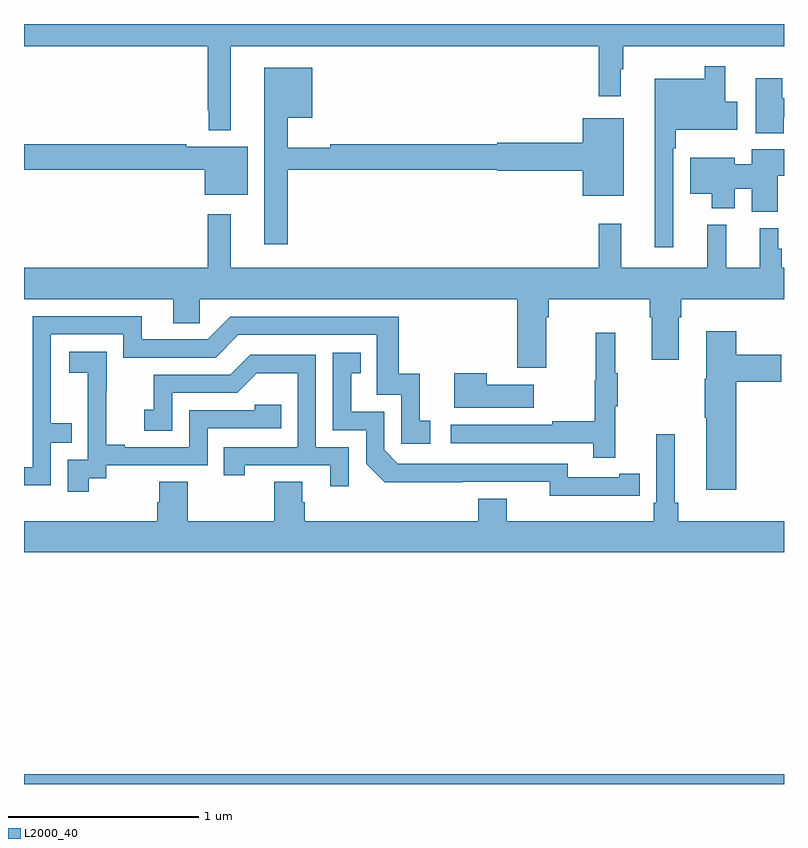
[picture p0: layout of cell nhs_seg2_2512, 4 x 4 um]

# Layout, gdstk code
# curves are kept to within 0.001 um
import gdstk
lib = gdstk.Library(unit=1e-6, precision=1e-09)
def R(c, l, rs):  # rectangles x0, y0, x1, y1
    for r in rs: c.add(gdstk.rectangle(r[:2], r[2:], *l))
def P(c, l, *ps):  # polygons
    for p in ps: c.add(gdstk.Polygon(p, *l))
L2000_40 = (2000, 40)

nhs_seg2_2512 = lib.new_cell('nhs_seg2_2512')
R(nhs_seg2_2512, L2000_40, [(243,595.8,247,595.852)])
P(nhs_seg2_2512, L2000_40, [(244.087,599.684),(246.025,599.684),(246.025,599.421),(246.142,599.421),(246.142,599.561),(246.154,599.561),(246.154,599.684),(247,599.684),(247,599.8),(243,599.8),(243,599.684),(243.966,599.684),(243.966,599.347),(243.972,599.347),(243.972,599.24),(244.087,599.24)],
  [(246.417,599.147),(246.43,599.147),(246.43,599.243),(246.754,599.243),(246.754,599.391),(246.691,599.391),(246.691,599.578),(246.582,599.578),(246.582,599.512),(246.32,599.512),(246.32,598.626),(246.417,598.626)],
  [(244.387,599.032),(245.49,599.032),(245.49,599.027),(245.942,599.027),(245.942,598.895),(246.157,598.895),(246.157,599.305),(245.942,599.305),(245.942,599.174),(245.49,599.174),(245.49,599.168),(244.612,599.168),(244.612,599.149),(244.387,599.149),(244.387,599.306),(244.516,599.306),(244.516,599.569),(244.265,599.569),(244.265,598.641),(244.387,598.641)],
  [(246.999,599.31),(247,599.31),(247,599.409),(246.991,599.409),(246.991,599.515),(246.851,599.515),(246.851,599.225),(246.999,599.225)],
  [(244.177,599.155),(243.854,599.155),(243.854,599.168),(243,599.168),(243,599.032),(243.95,599.032),(243.95,598.901),(244.177,598.901)],
  [(246.967,599.002),(247,599.002),(247,599.14),(246.83,599.14),(246.83,599.062),(246.742,599.062),(246.742,599.095),(246.506,599.095),(246.506,598.907),(246.62,598.907),(246.62,598.829),(246.742,598.829),(246.742,598.933),(246.83,598.933),(246.83,598.811),(246.967,598.811)],
  [(245.749,598.256),(245.762,598.256),(245.762,598.352),(246.293,598.352),(246.293,598.256),(246.305,598.256),(246.305,598.032),(246.445,598.032),(246.445,598.256),(246.458,598.256),(246.458,598.352),(247,598.352),(247,598.516),(246.989,598.516),(246.989,598.617),(246.969,598.617),(246.969,598.726),(246.872,598.726),(246.872,598.516),(246.695,598.516),(246.695,598.744),(246.596,598.744),(246.596,598.516),(246.143,598.516),(246.143,598.75),(246.025,598.75),(246.025,598.516),(244.087,598.516),(244.087,598.798),(243.966,598.798),(243.966,598.516),(243,598.516),(243,598.352),(243.785,598.352),(243.785,598.225),(243.924,598.225),(243.924,598.352),(245.597,598.352),(245.597,597.99),(245.749,597.99)],
  [(243.141,597.597),(243.251,597.597),(243.251,597.698),(243.141,597.698),(243.141,598.167),(243.522,598.167),(243.522,598.044),(244.008,598.044),(244.128,598.164),(244.857,598.164),(244.857,597.849),(244.986,597.849),(244.986,597.591),(245.137,597.591),(245.137,597.711),(245.084,597.711),(245.084,597.958),(244.973,597.958),(244.973,598.26),(244.086,598.26),(243.966,598.14),(243.619,598.14),(243.619,598.263),(243.045,598.263),(243.045,597.468),(243,597.468),(243,597.372),(243.141,597.372)],
  [(246.749,597.917),(246.985,597.917),(246.985,598.059),(246.749,598.059),(246.749,598.183),(246.59,598.183),(246.59,597.933),(246.583,597.933),(246.583,597.727),(246.59,597.727),(246.59,597.348),(246.749,597.348)],
  [(246.113,597.787),(246.124,597.787),(246.124,597.961),(246.113,597.961),(246.113,598.174),(246.01,598.174),(246.01,597.924),(246.003,597.924),(246.003,597.71),(245.779,597.71),(245.779,597.69),(245.247,597.69),(245.247,597.594),(245.995,597.594),(245.995,597.516),(246.113,597.516)],
  [(243.34,597.409),(243.432,597.409),(243.432,597.477),(243.966,597.477),(243.966,597.672),(244.355,597.672),(244.355,597.795),(244.215,597.795),(244.215,597.768),(243.87,597.768),(243.87,597.573),(243.529,597.573),(243.529,597.586),(243.434,597.586),(243.434,597.869),(243.435,597.869),(243.435,598.075),(243.237,598.075),(243.237,597.965),(243.335,597.965),(243.335,597.737),(243.336,597.737),(243.336,597.507),(243.231,597.507),(243.231,597.339),(243.34,597.339)],
  [(246.134,597.318),(246.242,597.318),(246.242,597.434),(246.134,597.434),(246.134,597.414),(245.862,597.414),(245.862,597.486),(244.968,597.486),(244.896,597.558),(244.896,597.759),(244.723,597.759),(244.723,597.963),(244.772,597.963),(244.772,598.069),(244.626,598.069),(244.626,597.663),(244.8,597.663),(244.8,597.486),(244.898,597.389),(245.766,597.39),(245.766,597.317)],
  [(244.71,597.573),(244.536,597.573),(244.536,598.059),(244.19,598.059),(244.085,597.954),(243.682,597.954),(243.682,597.769),(243.633,597.769),(243.633,597.66),(243.78,597.66),(243.78,597.858),(244.122,597.858),(244.226,597.962),(244.44,597.962),(244.44,597.573),(244.051,597.573),(244.051,597.426),(244.162,597.426),(244.162,597.477),(244.613,597.477),(244.613,597.366),(244.71,597.366)],
  [(245.683,597.901),(245.435,597.901),(245.435,597.961),(245.264,597.961),(245.264,597.779),(245.683,597.779)],
  [(247,597.184),(246.443,597.184),(246.443,597.28),(246.424,597.28),(246.424,597.64),(246.327,597.64),(246.327,597.28),(246.314,597.28),(246.314,597.184),(245.542,597.184),(245.542,597.301),(245.39,597.301),(245.39,597.184),(244.478,597.184),(244.478,597.282),(244.465,597.282),(244.465,597.392),(244.318,597.392),(244.318,597.184),(243.861,597.184),(243.861,597.392),(243.713,597.392),(243.713,597.282),(243.701,597.282),(243.701,597.184),(243,597.184),(243,597.02),(247,597.02)])

lib.write_gds('nhs_seg2_2512.gds')
